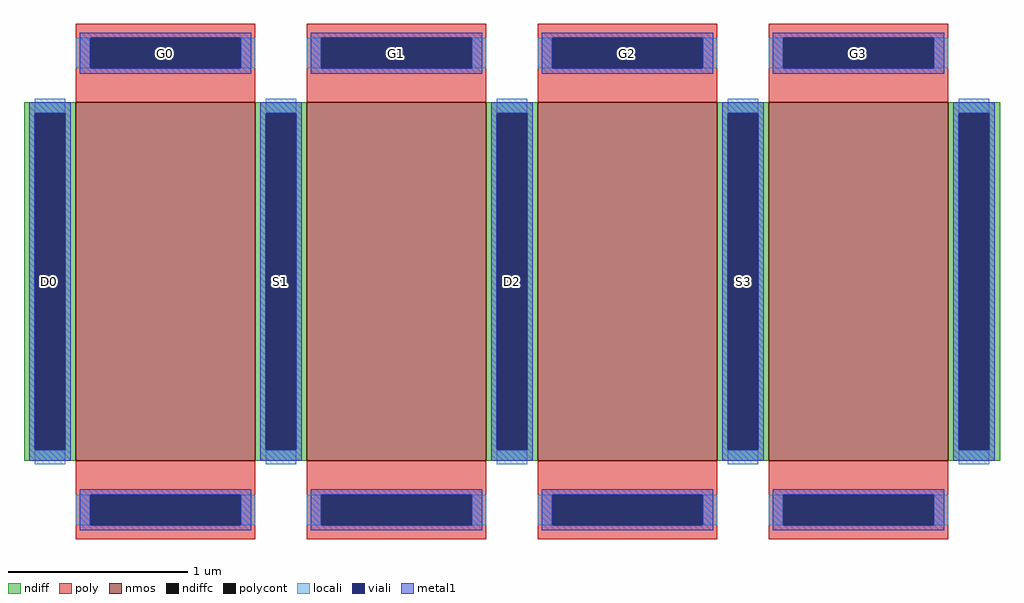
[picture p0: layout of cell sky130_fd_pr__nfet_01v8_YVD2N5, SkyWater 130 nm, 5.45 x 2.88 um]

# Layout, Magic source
magic
tech sky130A
magscale 1 2
<< nmos >>
rect -487 -200 -287 200
rect -229 -200 -29 200
rect 29 -200 229 200
rect 287 -200 487 200
<< ndiff >>
rect -545 188 -487 200
rect -545 -188 -533 188
rect -499 -188 -487 188
rect -545 -200 -487 -188
rect -287 188 -229 200
rect -287 -188 -275 188
rect -241 -188 -229 188
rect -287 -200 -229 -188
rect -29 188 29 200
rect -29 -188 -17 188
rect 17 -188 29 188
rect -29 -200 29 -188
rect 229 188 287 200
rect 229 -188 241 188
rect 275 -188 287 188
rect 229 -200 287 -188
rect 487 188 545 200
rect 487 -188 499 188
rect 533 -188 545 188
rect 487 -200 545 -188
<< ndiffc >>
rect -533 -188 -499 188
rect -275 -188 -241 188
rect -17 -188 17 188
rect 241 -188 275 188
rect 499 -188 533 188
<< poly >>
rect -487 272 -287 288
rect -487 238 -471 272
rect -303 238 -287 272
rect -487 200 -287 238
rect -229 272 -29 288
rect -229 238 -213 272
rect -45 238 -29 272
rect -229 200 -29 238
rect 29 272 229 288
rect 29 238 45 272
rect 213 238 229 272
rect 29 200 229 238
rect 287 272 487 288
rect 287 238 303 272
rect 471 238 487 272
rect 287 200 487 238
rect -487 -238 -287 -200
rect -487 -272 -471 -238
rect -303 -272 -287 -238
rect -487 -288 -287 -272
rect -229 -238 -29 -200
rect -229 -272 -213 -238
rect -45 -272 -29 -238
rect -229 -288 -29 -272
rect 29 -238 229 -200
rect 29 -272 45 -238
rect 213 -272 229 -238
rect 29 -288 229 -272
rect 287 -238 487 -200
rect 287 -272 303 -238
rect 471 -272 487 -238
rect 287 -288 487 -272
<< polycont >>
rect -471 238 -303 272
rect -213 238 -45 272
rect 45 238 213 272
rect 303 238 471 272
rect -471 -272 -303 -238
rect -213 -272 -45 -238
rect 45 -272 213 -238
rect 303 -272 471 -238
<< locali >>
rect -487 238 -471 272
rect -303 238 -287 272
rect -229 238 -213 272
rect -45 238 -29 272
rect 29 238 45 272
rect 213 238 229 272
rect 287 238 303 272
rect 471 238 487 272
rect -533 188 -499 204
rect -533 -204 -499 -188
rect -275 188 -241 204
rect -275 -204 -241 -188
rect -17 188 17 204
rect -17 -204 17 -188
rect 241 188 275 204
rect 241 -204 275 -188
rect 499 188 533 204
rect 499 -204 533 -188
rect -487 -272 -471 -238
rect -303 -272 -287 -238
rect -229 -272 -213 -238
rect -45 -272 -29 -238
rect 29 -272 45 -238
rect 213 -272 229 -238
rect 287 -272 303 -238
rect 471 -272 487 -238
<< viali >>
rect -471 238 -303 272
rect -213 238 -45 272
rect 45 238 213 272
rect 303 238 471 272
rect -533 -188 -499 188
rect -275 -188 -241 188
rect -17 -188 17 188
rect 241 -188 275 188
rect 499 -188 533 188
rect -471 -272 -303 -238
rect -213 -272 -45 -238
rect 45 -272 213 -238
rect 303 -272 471 -238
<< metal1 >>
rect -483 272 -291 278
rect -483 238 -471 272
rect -303 238 -291 272
rect -483 232 -291 238
rect -225 272 -33 278
rect -225 238 -213 272
rect -45 238 -33 272
rect -225 232 -33 238
rect 33 272 225 278
rect 33 238 45 272
rect 213 238 225 272
rect 33 232 225 238
rect 291 272 483 278
rect 291 238 303 272
rect 471 238 483 272
rect 291 232 483 238
rect -539 188 -493 200
rect -539 -188 -533 188
rect -499 -188 -493 188
rect -539 -200 -493 -188
rect -281 188 -235 200
rect -281 -188 -275 188
rect -241 -188 -235 188
rect -281 -200 -235 -188
rect -23 188 23 200
rect -23 -188 -17 188
rect 17 -188 23 188
rect -23 -200 23 -188
rect 235 188 281 200
rect 235 -188 241 188
rect 275 -188 281 188
rect 235 -200 281 -188
rect 493 188 539 200
rect 493 -188 499 188
rect 533 -188 539 188
rect 493 -200 539 -188
rect -483 -238 -291 -232
rect -483 -272 -471 -238
rect -303 -272 -291 -238
rect -483 -278 -291 -272
rect -225 -238 -33 -232
rect -225 -272 -213 -238
rect -45 -272 -33 -238
rect -225 -278 -33 -272
rect 33 -238 225 -232
rect 33 -272 45 -238
rect 213 -272 225 -238
rect 33 -278 225 -272
rect 291 -238 483 -232
rect 291 -272 303 -238
rect 471 -272 483 -238
rect 291 -278 483 -272
<< labels >>
rlabel ndiffc -516 0 -516 0 0 D0
port 1 nsew
rlabel polycont -387 255 -387 255 0 G0
port 2 nsew
rlabel ndiffc -258 0 -258 0 0 S1
port 3 nsew
rlabel polycont -129 255 -129 255 0 G1
port 4 nsew
rlabel ndiffc 0 0 0 0 0 D2
port 5 nsew
rlabel polycont 129 255 129 255 0 G2
port 6 nsew
rlabel ndiffc 258 0 258 0 0 S3
port 7 nsew
rlabel polycont 387 255 387 255 0 G3
port 8 nsew
<< properties >>
string gencell sky130_fd_pr__nfet_01v8
string library sky130
string parameters w 2 l 1 m 1 nf 4 diffcov 100 polycov 100 guard 0 glc 1 grc 1 gtc 1 gbc 1 tbcov 100 rlcov 100 topc 1 botc 1 poverlap 0 doverlap 1 lmin 0.15 wmin 0.42 class mosfet compatible {sky130_fd_pr__nfet_01v8 sky130_fd_pr__nfet_01v8_lvt  sky130_fd_bs_flash__special_sonosfet_star  sky130_fd_pr__nfet_g5v0d10v5 sky130_fd_pr__nfet_05v0_nvt  sky130_fd_pr__nfet_03v3_nvt} full_metal 0 conn_gates 0 viasrc 100 viadrn 100 viagate 100 viagb 0 viagr 0 viagl 0 viagt 0 doports 1
<< end >>
